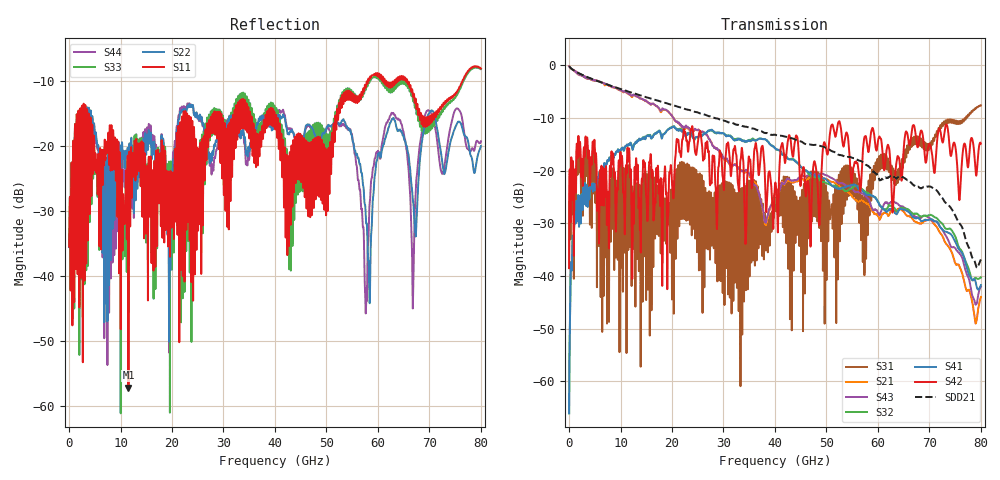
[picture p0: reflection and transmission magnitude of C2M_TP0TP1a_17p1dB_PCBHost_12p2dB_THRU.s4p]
!! Reference: shanbhag_3dj_03_2305.pdf
!! CHANNEL DESCRIPTION: TP0_TP1a C2M Channel, PCB Host
!! MODEL DESCRIPTION: s4p, THRU
!! CONNECTOR DESCRIPTION: OSFP 200G SMT
!! MODEL STATUS: Developmental
!! PORT DEFINITIONS:
!! Port  1  ----->  Side A  Side B  <-----  Port  2
!! Port  3  ----->  Side A  Side B  <-----  Port  4
# HZ S MA R 50.000000
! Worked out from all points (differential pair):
!   8000 points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, 10 MHz to 80 GHz, reference 50 ohm
!   strongest paths, dB at 10 MHz, 20.01 GHz, 40.01 GHz, 60.01 GHz, 80 GHz:
!     S42: -38.5, -22.7, -22.6, -14.4, -14.9
!     S41: -66.1, -11.7, -15.7, -26.0, -41.7
!     S32: -66.1, -11.6, -15.7, -25.9, -40.3
!     S43: -0.2, -9.6, -24.5, -28.0, -42.0
!     S21: -0.2, -9.6, -24.2, -28.6, -44.0
!     S31: -38.5, -39.1, -27.0, -19.1, -7.6
!   taken as a pair (ports 3,1 in; 4,2 out), SDD21 dB: -0.1, -7.5, -13.2, -21.1, -36.8
!   lowest |S11| = -57.2 dB at 11.54 GHz (marker M1), VSWR 1.00, Z = 49.9 + j0.111 ohm
!   |S11| at or under -10 dB: start of sweep to 58.05 GHz; 61.62 GHz to 63.21 GHz (1.592 GHz wide, 2.55 % of centre); 65.7 GHz to 76.4 GHz (10.7 GHz wide, 15.1 % of centre) (the widest 3 of 8)
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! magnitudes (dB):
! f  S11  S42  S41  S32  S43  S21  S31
! 10 MHz  -35.5  -38.5  -66.1  -66.1  -0.2  -0.2  -38.5
! 1.44 GHz  -16.5  -16.0  -25.8  -25.7  -1.4  -1.4  -17.4
! 11.54 GHz  -57.2  -17.9  -15.0  -15.0  -5.3  -5.4  -26.0
! 53.33 GHz  -12.9  -15.4  -23.2  -23.6  -22.5  -23.7  -24.1
! 57.7 GHz  -10.7  -13.7  -24.5  -24.1  -24.9  -26.2  -36.7
! 62.62 GHz  -10.2  -23.0  -27.3  -26.8  -26.0  -27.5  -19.0
! 80 GHz  -8.0  -14.9  -41.7  -40.3  -42.0  -44.0  -7.6
